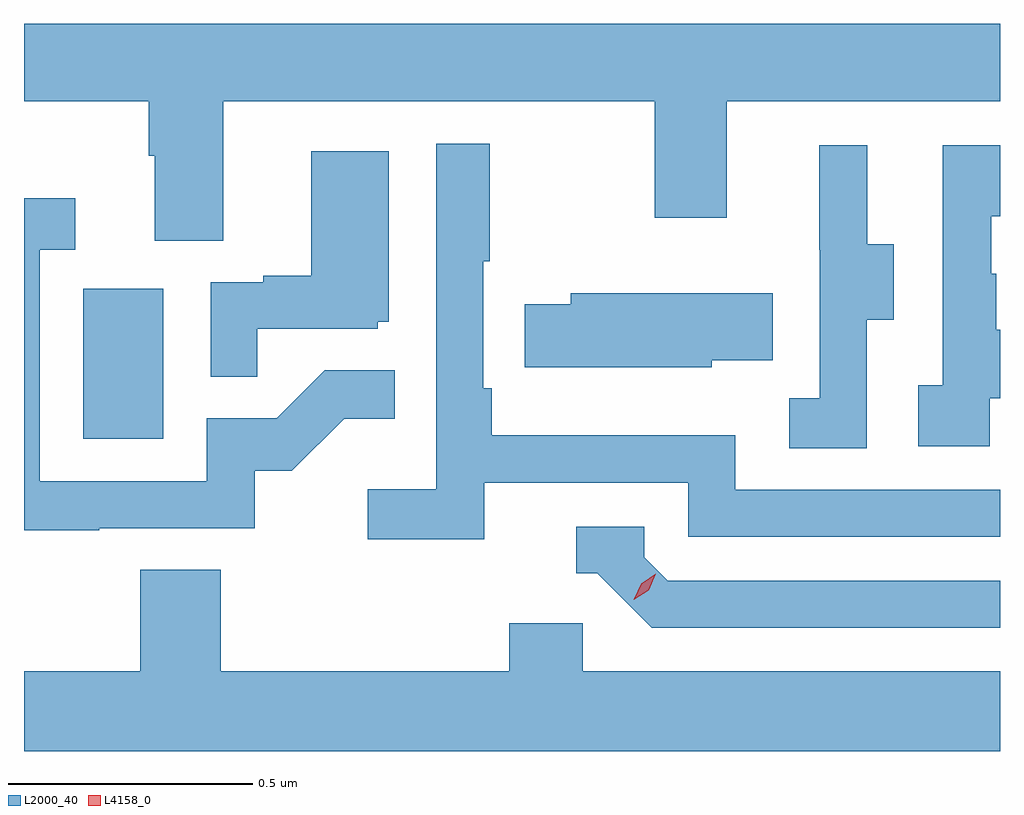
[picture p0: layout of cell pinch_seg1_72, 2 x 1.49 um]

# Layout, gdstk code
import gdstk
lib = gdstk.Library(unit=1e-6, precision=1e-09)
def R(c, l, rs):  # rectangles x0, y0, x1, y1
    for r in rs: c.add(gdstk.rectangle(r[:2], r[2:], *l))
def P(c, l, *ps):  # polygons
    for p in ps: c.add(gdstk.Polygon(p, *l))
L2000_40 = (2000, 40)
L4158_0 = (4158, 0)

pinch_seg1_72 = lib.new_cell('pinch_seg1_72')
R(pinch_seg1_72, L2000_40, [(1020.686,579.012,1020.85,579.319)])
P(pinch_seg1_72, L2000_40, [(1020.565,579.704),(1020.821,579.704),(1020.821,579.592),(1020.833,579.592),(1020.833,579.418),(1020.973,579.418),(1020.973,579.704),(1021.858,579.704),(1021.858,579.465),(1022.005,579.465),(1022.005,579.704),(1022.565,579.704),(1022.565,579.862),(1020.565,579.862)],
  [(1021.508,578.922),(1021.926,578.922),(1021.926,578.811),(1022.565,578.811),(1022.565,578.907),(1022.022,578.907),(1022.022,579.019),(1021.523,579.019),(1021.523,579.115),(1021.506,579.115),(1021.506,579.376),(1021.519,579.376),(1021.519,579.616),(1021.41,579.616),(1021.41,578.908),(1021.269,578.908),(1021.269,578.806),(1021.508,578.806)],
  [(1022.292,579.256),(1022.347,579.256),(1022.347,579.411),(1022.293,579.411),(1022.293,579.613),(1022.195,579.613),(1022.195,579.399),(1022.196,579.399),(1022.196,579.095),(1022.133,579.095),(1022.133,578.992),(1022.292,578.992)],
  [(1022.544,579.095),(1022.565,579.095),(1022.565,579.235),(1022.557,579.235),(1022.557,579.35),(1022.547,579.35),(1022.547,579.468),(1022.565,579.468),(1022.565,579.613),(1022.448,579.613),(1022.448,579.122),(1022.397,579.122),(1022.397,578.997),(1022.544,578.997)],
  [(1021.043,579.237),(1021.29,579.237),(1021.29,579.252),(1021.312,579.252),(1021.312,579.601),(1021.154,579.601),(1021.154,579.346),(1021.055,579.346),(1021.055,579.333),(1020.948,579.333),(1020.948,579.139),(1021.043,579.139)],
  [(1020.719,578.829),(1021.038,578.829),(1021.038,578.946),(1021.114,578.946),(1021.221,579.053),(1021.325,579.053),(1021.325,579.152),(1021.181,579.152),(1021.083,579.054),(1020.939,579.054),(1020.939,578.925),(1020.597,578.925),(1020.597,579.399),(1020.67,579.399),(1020.67,579.505),(1020.565,579.505),(1020.565,578.824),(1020.719,578.824)],
  [(1021.974,579.173),(1022.099,579.173),(1022.099,579.31),(1021.685,579.31),(1021.685,579.288),(1021.591,579.288),(1021.591,579.159),(1021.702,579.159),(1021.702,579.158),(1021.974,579.158)],
  [(1022.565,578.721),(1021.884,578.721),(1021.836,578.769),(1021.836,578.832),(1021.697,578.832),(1021.697,578.736),(1021.74,578.736),(1021.851,578.625),(1022.565,578.625)],
  [(1022.565,578.536),(1021.71,578.536),(1021.71,578.634),(1021.559,578.634),(1021.559,578.536),(1020.968,578.536),(1020.968,578.744),(1020.803,578.744),(1020.803,578.536),(1020.565,578.536),(1020.565,578.372),(1022.565,578.372)])
P(pinch_seg1_72, L4158_0, [(1021.814,578.682),(1021.814,578.682),(1021.83,578.715),(1021.86,578.735),(1021.86,578.735),(1021.86,578.735),(1021.845,578.702),(1021.814,578.682)])

lib.write_gds('pinch_seg1_72.gds')
